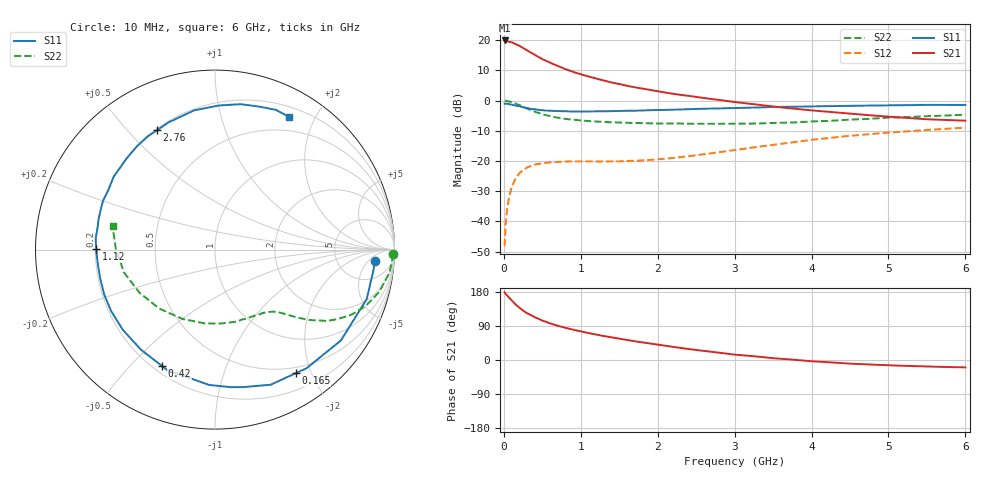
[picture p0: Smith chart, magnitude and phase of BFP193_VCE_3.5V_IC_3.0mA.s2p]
! Infineon Technologies  Discrete & RF Semiconductors
! BFP193
! VCE = 3.5 V,  IC =  3.0 mA
! Common Emitter S-Parameters:  Jan 2016
# GHz  S  MA  R  50
!  f  S11  S21  S12  S22
! GHz  MAG  ANG  MAG  ANG  MAG  ANG  MAG  ANG
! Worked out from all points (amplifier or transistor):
!   210 points, 10 MHz to 6 GHz, reference 50 ohm
!   highest |S21| = 19.9 dB at 10 MHz (marker M1)
!   |S21| within 3 dB of that: start of sweep to 284.1 MHz
!   unconditionally stable (mu >= 1): 1.475 GHz to 3.47 GHz
!   at 185 MHz: K = 0.15, MSG = 21.5 dB, |S12| = -24.6 dB
!   at 1.52 GHz: K = 1.02, MAG = 11.9 dB, |S12| = -20.1 dB
!   at 6 GHz: K = 0.94, MSG = 1.2 dB, |S12| = -9.0 dB
!   S11 on the Smith chart (normalised r, x): 10 MHz: 13, -8; 165 MHz: 0.42, -1.77; 420 MHz: 0.23, -0.62; 1.12 GHz: 0.20, +0.00; 2.76 GHz: 0.21, +0.60; 6 GHz: 0.32, +1.66
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0.01  0.8929 -3.9  9.889 178.7  0.0039 91.8  0.9929 -1.5
0.02  0.8902 -7.4  9.684 175.1  0.0076 85.7  0.9903 -3.0
0.04  0.8861 -14.5  9.592 170.8  0.0149 81.2  0.9833 -6.0
0.1  0.8651 -35.8  9.282 157.8  0.0361 71.0  0.9445 -14.5
0.15  0.835 -52.3  8.636 147.0  0.0505 62.2  0.8959 -20.6
0.165  0.8226 -56.8  8.459 144.5  0.054 59.8  0.8796 -22.0
0.2  0.8142 -67.6  8.11 138.4  0.0624 55.3  0.8437 -25.4
0.26  0.7714 -83.5  7.313 128.9  0.0723 48.0  0.7764 -30.1
0.3  0.7547 -92.5  6.806 123.6  0.0779 44.7  0.7383 -32.6
0.42  0.7126 -114.5  5.547 111.5  0.0882 36.0  0.6443 -37.2
0.5  0.6936 -126.5  4.857 104.0  0.0919 31.9  0.5961 -39.5
0.6  0.6808 -139.0  4.242 96.7  0.0949 28.3  0.5512 -41.5
0.7  0.6725 -149.4  3.745 90.3  0.0968 25.6  0.5205 -43.1
1.02  0.6578 -173.9  2.678 74.6  0.0986 22.4  0.4667 -47.8
1.12  0.6617 179.8  2.469 70.3  0.0986 22.5  0.4566 -49.6
1.6  0.6808 156.4  1.756 52.7  0.0998 26.4  0.4289 -59.1
2.02  0.6975 140.0  1.413 39.8  0.1074 32.8  0.4179 -68.9
2.76  0.7398 116.1  1.039 20.2  0.1376 41.0  0.4116 -90.3
3.1  0.7584 107.6  0.916 12.6  0.1583 42.0  0.4145 -101.6
4.1  0.8056 86.8  0.672 -4.4  0.2311 36.9  0.4552 -136.9
5.1  0.8362 71.5  0.532 -14.7  0.3015 25.3  0.5258 -168.9
6  0.8464 60.8  0.465 -19.5  0.356 13.5  0.5854 167.2
